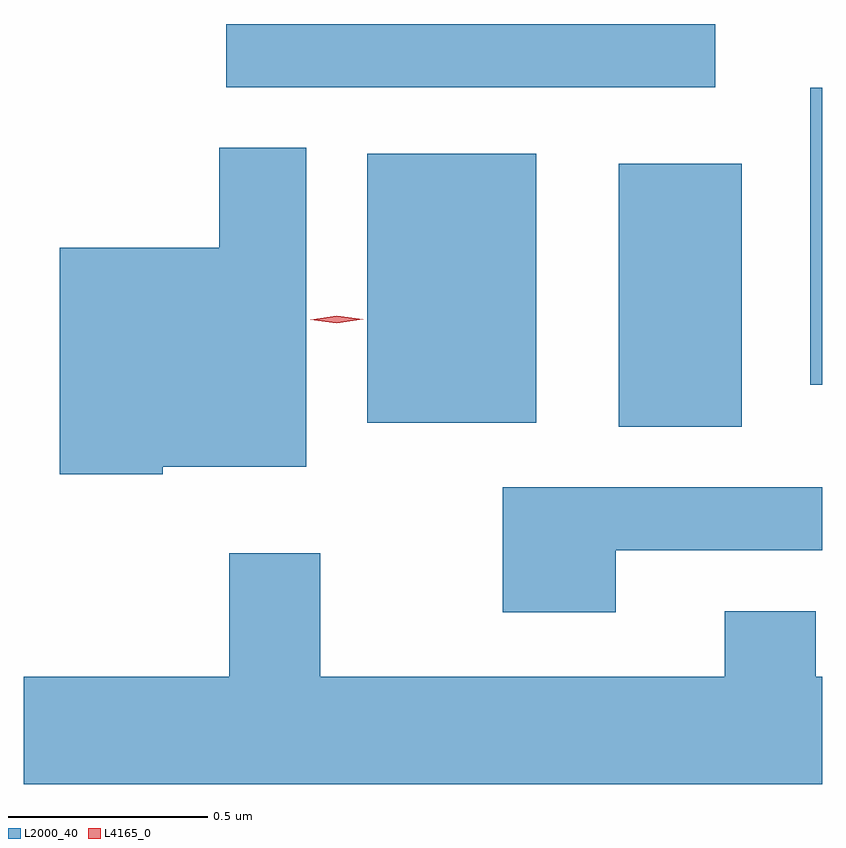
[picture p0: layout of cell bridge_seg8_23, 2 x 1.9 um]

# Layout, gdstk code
import gdstk
lib = gdstk.Library(unit=1e-6, precision=1e-09)
def R(c, l, rs):  # rectangles x0, y0, x1, y1
    for r in rs: c.add(gdstk.rectangle(r[:2], r[2:], *l))
def P(c, l, *ps):  # polygons
    for p in ps: c.add(gdstk.Polygon(p, *l))
L2000_40 = (2000, 40)
L4165_0 = (4165, 0)

bridge_seg8_23 = lib.new_cell('bridge_seg8_23')
R(bridge_seg8_23, L2000_40, [(1778.066,1879.491,1778.374,1880.149), (1777.436,1879.501,1777.859,1880.174), (1778.546,1879.596,1778.576,1880.339), (1777.083,1880.341,1778.308,1880.499)])
P(bridge_seg8_23, L2000_40, [(1776.924,1879.391),(1777.284,1879.391),(1777.284,1880.189),(1777.066,1880.189),(1777.066,1879.939),(1776.666,1879.939),(1776.666,1879.371),(1776.924,1879.371)],
  [(1778.059,1879.181),(1778.576,1879.181),(1778.576,1879.339),(1777.776,1879.339),(1777.776,1879.026),(1778.059,1879.026)],
  [(1778.576,1878.864),(1778.559,1878.864),(1778.559,1879.029),(1778.331,1879.029),(1778.331,1878.864),(1777.319,1878.864),(1777.319,1879.174),(1777.091,1879.174),(1777.091,1878.864),(1776.576,1878.864),(1776.576,1878.596),(1778.576,1878.596)])
P(bridge_seg8_23, L4165_0, [(1777.36,1879.75),(1777.294,1879.758),(1777.294,1879.759),(1777.294,1879.759),(1777.36,1879.769),(1777.426,1879.76),(1777.426,1879.76),(1777.426,1879.76)])

lib.write_gds('bridge_seg8_23.gds')
